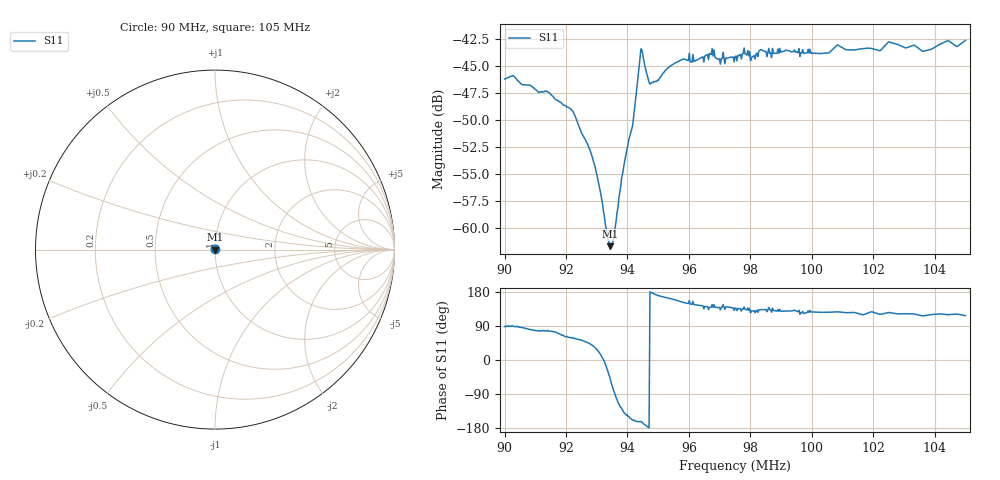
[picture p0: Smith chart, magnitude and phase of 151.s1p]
# HZ S RI R 50
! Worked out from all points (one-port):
!   505 points, 90 MHz to 105 MHz, reference 50 ohm
!   lowest |S11| = -61.6 dB at 93.42 MHz (marker M1), VSWR 1.00, Z = 50.1 - j0.0579 ohm
!   |S11| at or under -10 dB: start of sweep to end of sweep
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9e7  0.000159 0.00491
9.029762e7  8.72e-05 0.00507
9.187501e7  0.00157 0.00343
9.223215e7  0.00188 0.00292
9.279763e7  0.0017 0.0015
9.306549e7  0.0015 0.00059
9.333334e7  0.000866 -0.000381
9.342263e7  0.000592 -0.000578
9.354168e7  0.000162 -0.000872
9.375001e7  -0.000757 -0.00126
9.416668e7  -0.00277 -0.00111
9.443454e7  -0.00646 -0.00204
9.449406e7  -0.0062 -0.00155
9.467263e7  -0.00491 -0.000196
9.476192e7  -0.00468 0.000128
9.562502e7  -0.00544 0.00231
9.675597e7  -0.00565 0.0038
9.696431e7  -0.00457 0.00402
9.750002e7  -0.00456 0.00427
9.833336e7  -0.00455 0.00495
9.937503e7  -0.00423 0.00505
1.008334e8  -0.00428 0.00563
1.0125e8  -0.00386 0.00548
1.022024e8  -0.0034 0.00571
1.025298e8  -0.00418 0.00596
1.03125e8  -0.00366 0.00584
1.036608e8  -0.003 0.00591
1.05e8  -0.00339 0.0066
